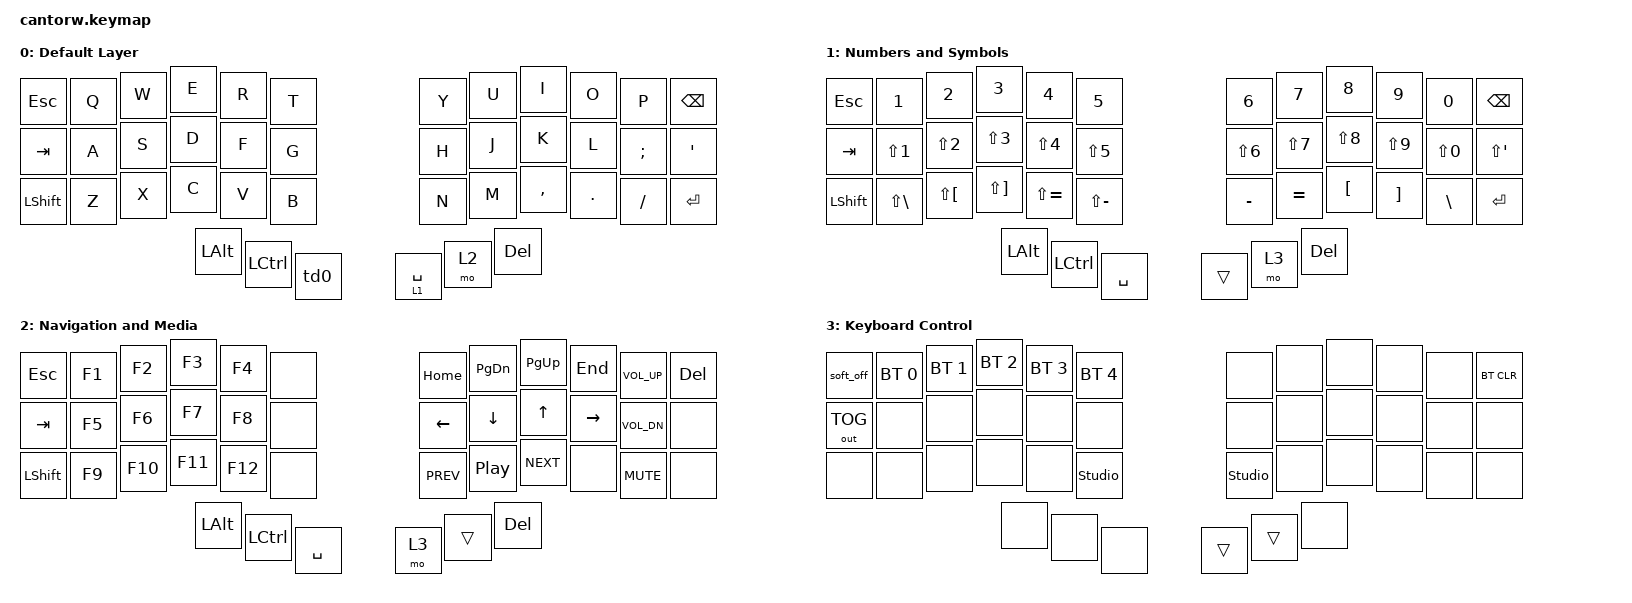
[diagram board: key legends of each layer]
#include <behaviors.dtsi>
#include <dt-bindings/zmk/keys.h>
#include <dt-bindings/zmk/bt.h>
#include <dt-bindings/zmk/outputs.h>

&mt {
		tapping-term-ms = <250>;
};

/ {
behaviors {
        td0: td_GUI_SPACE {
            compatible = "zmk,behavior-tap-dance";
            #binding-cells = <0>;
            tapping-term-ms = <250>;
            bindings = <&kp SPACE>, <&kp LGUI>;
        };
    };

	keymap {
		compatible = "zmk,keymap";

		default_layer { //LAYER 0
		
			display-name = "Default Layer";
			
				// Esc	Q	W	E	R	T		Y	U	I	O	P	Bs
				// Tab	A	S	D	F	G		H	J	K	L	;	'
				// LS	Z	X	C	V	B		N	M	,	.	/	Ent
				//				Alt	Ctl	Sup/Sp	L1/Sp	L2	Del

			bindings = <
				&kp ESC   &kp Q &kp W &kp E &kp R &kp T    &kp Y &kp U  &kp I     &kp O   &kp P    &kp BSPC
				&kp TAB   &kp A &kp S &kp D &kp F &kp G    &kp H &kp J  &kp K     &kp L   &kp SEMI &kp SQT
				&kp LSHFT &kp Z &kp X &kp C &kp V &kp B    &kp N &kp M  &kp COMMA &kp DOT &kp FSLH &kp RET
						&kp LALT &kp LCTRL &td0			&lt 1 SPACE &mo 2 &kp DEL
			>;
		};
		
		sym_layer { //LAYER 1
		
			display-name = "Numbers and Symbols";
			
				// Esc	1	2	3	4	5		6	7	8	9	0	Bs
				// Tab	!	@	#	$	%		^	&	*	(	)	"
				// LS	|	{	}	+	_		-	=	[	]	\	Ent
				//				Alt	Ctl	Sp		nop	 L3	 Del

			bindings = <
				&kp ESC   &kp N1       &kp N2       &kp N3       &kp N4        &kp N5         &kp N6     &kp N7     &kp N8     &kp N9       &kp N0     &kp BSPC
				&kp TAB   &kp LS(N1)   &kp LS(N2)   &kp LS(N3)   &kp LS(N4)    &kp LS(N5)     &kp LS(N6) &kp LS(N7)  &kp LS(N8)  &kp LS(N9)   &kp LS(N0) &kp LS(SQT)
				&kp LSHFT &kp LS(BSLH) &kp LS(LBKT) &kp LS(RBKT) &kp LS(EQUAL) &kp LS(MINUS)   &kp MINUS  &kp EQUAL  &kp LBKT   &kp RBKT     &kp BSLH   &kp RET
															  &kp LALT &kp LCTRL &kp SPACE    &trans &mo 3 &kp DEL
			>;
		};
		
		nav_layer { //LAYER 2
		
			display-name = "Navigation and Media";
			
				// Esc	F1	F2	F3	F4	nop		HM	PU	PD	ED	Vol+ Del
				// Tab	F5	F6	F7	F8	nop		L	C	U	R	Vol- nop
				// LS	F9	F10	F11	F12	nop		Pr	>	Nx	nop	Mut	nop
				//				Alt	Ctl	Sp		L3	nop	 Del

			bindings = <
				&kp ESC   &kp F1  &kp F2  &kp F3  &kp F4  &none    &kp HOME   &kp PG_DN   &kp PG_UP  &kp END     &kp C_VOL_UP   &kp DEL
				&kp TAB   &kp F5  &kp F6  &kp F7  &kp F8  &none    &kp LEFT   &kp DOWN    &kp UP     &kp RIGHT   &kp C_VOL_DN  &none
				&kp LSHFT &kp F9  &kp F10 &kp F11 &kp F12 &none    &kp C_PREV  &kp C_PP   &kp C_NEXT &none	     &kp C_MUTE     &none
								   &kp LALT &kp LCTRL &kp SPACE    &mo 3 &trans &kp DEL
			>;
		};
		
		config_layer { //LAYER 3
		
			display-name = "Keyboard Control";
			
				// OFF			BT1	BT2	BT3	BT4	BT5		nop	nop	nop	nop	nop	BT_CLR
				// Tog output	nop	nop	nop	nop	nop		nop	nop	nop	nop	nop	nop
				// nop			nop	nop	nop	nop	std		std	nop	nop	nop	nop	nop
				//						nop	nop	nop		nop	nop	nop

			bindings = <
				&soft_off   	&bt BT_SEL 0   &bt BT_SEL 1  &bt BT_SEL 2  &bt BT_SEL 3  &bt BT_SEL 4    &none   &none   &none  &none  &none   &bt BT_CLR
				&out OUT_TOG    &none   	   &none  		 &none  		&none  		 &none           &none   &none   &none  &none  &none   &none
				&none   		&none   	   &none  		 &none  		&none   	 &studio_unlock  &studio_unlock   &none   &none  &none  &none   &none
															&none  			&none  		 &none    		 &trans  &trans  &none
			>;
		};
		
	};
};
